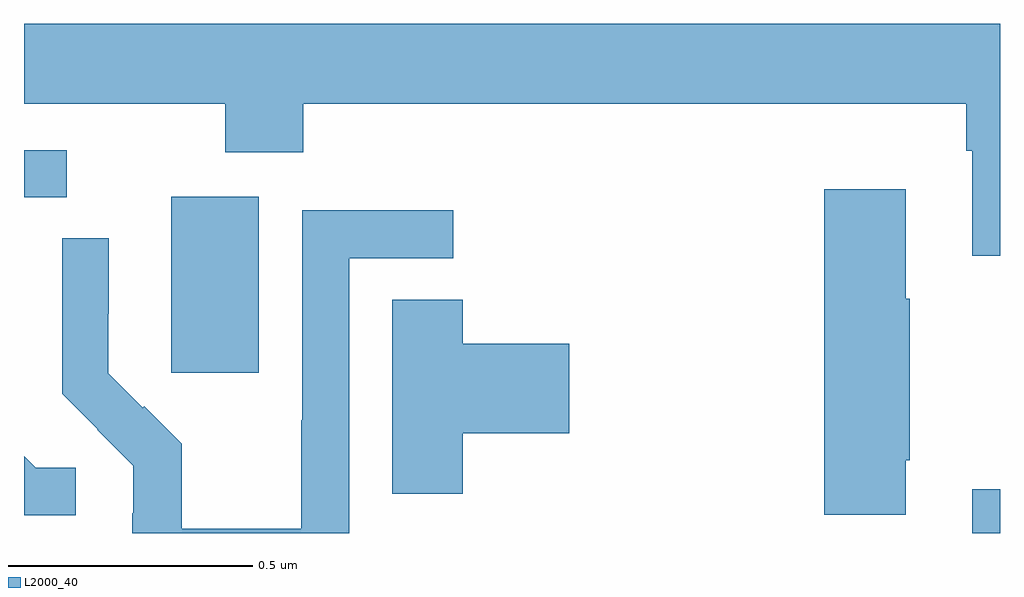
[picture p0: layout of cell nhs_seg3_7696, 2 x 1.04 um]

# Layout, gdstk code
import gdstk
lib = gdstk.Library(unit=1e-6, precision=1e-09)
def R(c, l, rs):  # rectangles x0, y0, x1, y1
    for r in rs: c.add(gdstk.rectangle(r[:2], r[2:], *l))
def P(c, l, *ps):  # polygons
    for p in ps: c.add(gdstk.Polygon(p, *l))
L2000_40 = (2000, 40)

nhs_seg3_7696 = lib.new_cell('nhs_seg3_7696')
R(nhs_seg3_7696, L2000_40, [(208.943,669.4,209,669.49), (207.302,669.729,207.481,670.09), (207,670.089,207.088,670.185)])
P(nhs_seg3_7696, L2000_40, [(209,670.444),(207,670.444),(207,670.28),(207.412,670.28),(207.412,670.181),(207.572,670.181),(207.572,670.28),(208.931,670.28),(208.931,670.184),(208.943,670.184),(208.943,669.969),(209,669.969)],
  [(208.807,669.55),(208.815,669.55),(208.815,669.881),(208.807,669.881),(208.807,670.105),(208.64,670.105),(208.64,669.438),(208.807,669.438)],
  [(207.666,669.963),(207.88,669.963),(207.88,670.062),(207.57,670.062),(207.57,669.632),(207.568,669.632),(207.568,669.409),(207.323,669.409),(207.323,669.583),(207.246,669.66),(207.243,669.657),(207.173,669.728),(207.173,669.85),(207.174,669.85),(207.174,670.004),(207.078,670.004),(207.078,669.686),(207.151,669.613),(207.15,669.612),(207.224,669.538),(207.224,669.441),(207.222,669.441),(207.222,669.4),(207.666,669.4)],
  [(207.899,669.605),(208.117,669.605),(208.117,669.788),(207.899,669.788),(207.899,669.878),(207.755,669.878),(207.755,669.481),(207.899,669.481)],
  [(207.106,669.534),(207.024,669.534),(207,669.558),(207,669.437),(207.106,669.437)])

lib.write_gds('nhs_seg3_7696.gds')
